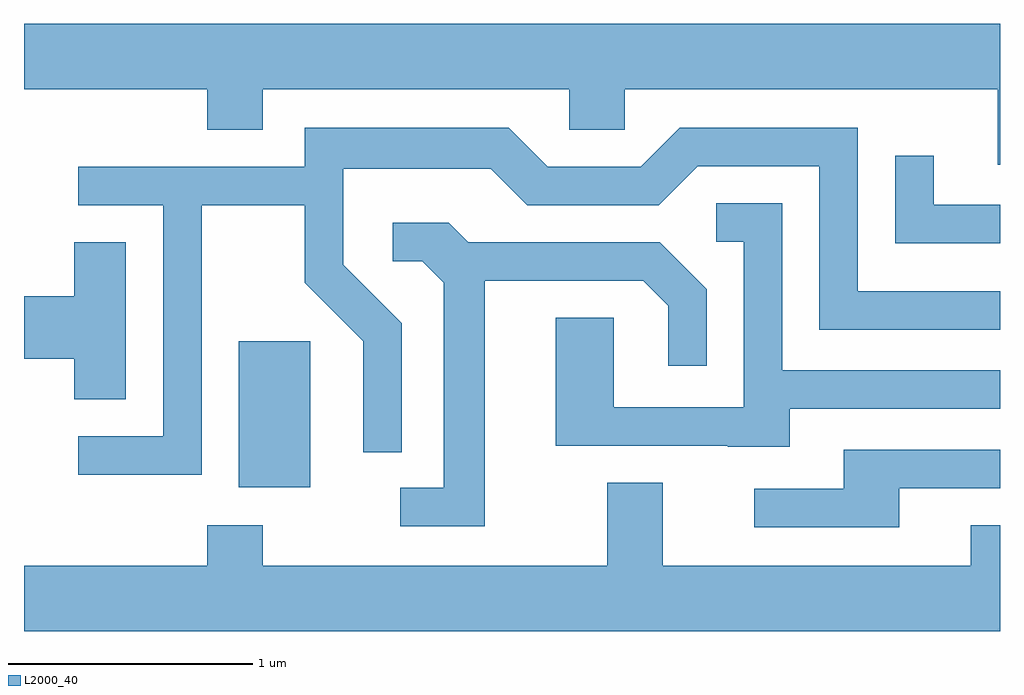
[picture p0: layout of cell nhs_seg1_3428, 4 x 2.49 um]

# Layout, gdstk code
import gdstk
lib = gdstk.Library(unit=1e-6, precision=1e-09)
def R(c, l, rs):  # rectangles x0, y0, x1, y1
    for r in rs: c.add(gdstk.rectangle(r[:2], r[2:], *l))
def P(c, l, *ps):  # polygons
    for p in ps: c.add(gdstk.Polygon(p, *l))
L2000_40 = (2000, 40)

nhs_seg1_3428 = lib.new_cell('nhs_seg1_3428')
R(nhs_seg1_3428, L2000_40, [(288.491,971.206,288.784,971.804)])
P(nhs_seg1_3428, L2000_40, [(291.611,973.104),(287.611,973.104),(287.611,972.836),(288.361,972.836),(288.361,972.671),(288.589,972.671),(288.589,972.836),(289.846,972.836),(289.846,972.671),(290.074,972.671),(290.074,972.836),(291.601,972.836),(291.601,972.526),(291.611,972.526)],
  [(288.339,972.361),(288.761,972.361),(288.761,972.044),(289.001,971.804),(289.001,971.348),(289.159,971.348),(289.159,971.877),(288.919,972.117),(288.919,972.511),(289.524,972.511),(289.674,972.361),(290.212,972.361),(290.372,972.521),(290.871,972.521),(290.871,971.851),(291.611,971.851),(291.611,972.009),(291.029,972.009),(291.029,972.679),(290.299,972.679),(290.139,972.519),(289.757,972.519),(289.597,972.679),(288.761,972.679),(288.761,972.519),(287.833,972.519),(287.833,972.361),(288.181,972.361),(288.181,971.414),(287.833,971.414),(287.833,971.256),(288.339,971.256)],
  [(291.611,972.364),(291.339,972.364),(291.339,972.563),(291.181,972.563),(291.181,972.206),(291.611,972.206)],
  [(290.749,971.526),(291.611,971.526),(291.611,971.684),(290.719,971.684),(290.719,972.369),(290.448,972.369),(290.448,972.211),(290.561,972.211),(290.561,971.534),(290.029,971.534),(290.029,971.899),(289.791,971.899),(289.791,971.376),(290.495,971.376),(290.495,971.371),(290.749,971.371)],
  [(289.499,972.051),(290.149,972.051),(290.251,971.949),(290.251,971.703),(290.409,971.703),(290.409,972.017),(290.217,972.209),(289.432,972.209),(289.352,972.289),(289.123,972.289),(289.123,972.131),(289.244,972.131),(289.331,972.044),(289.331,971.204),(289.153,971.204),(289.153,971.046),(289.499,971.046)],
  [(288.029,972.209),(287.816,972.209),(287.816,971.989),(287.611,971.989),(287.611,971.731),(287.816,971.731),(287.816,971.566),(288.029,971.566)],
  [(291.199,971.201),(291.611,971.201),(291.611,971.359),(290.971,971.359),(290.971,971.199),(290.603,971.199),(290.603,971.041),(291.199,971.041)],
  [(291.611,971.049),(291.491,971.049),(291.491,970.884),(290.229,970.884),(290.229,971.224),(290.001,971.224),(290.001,970.884),(288.589,970.884),(288.589,971.049),(288.361,971.049),(288.361,970.884),(287.611,970.884),(287.611,970.616),(291.611,970.616)])

lib.write_gds('nhs_seg1_3428.gds')
